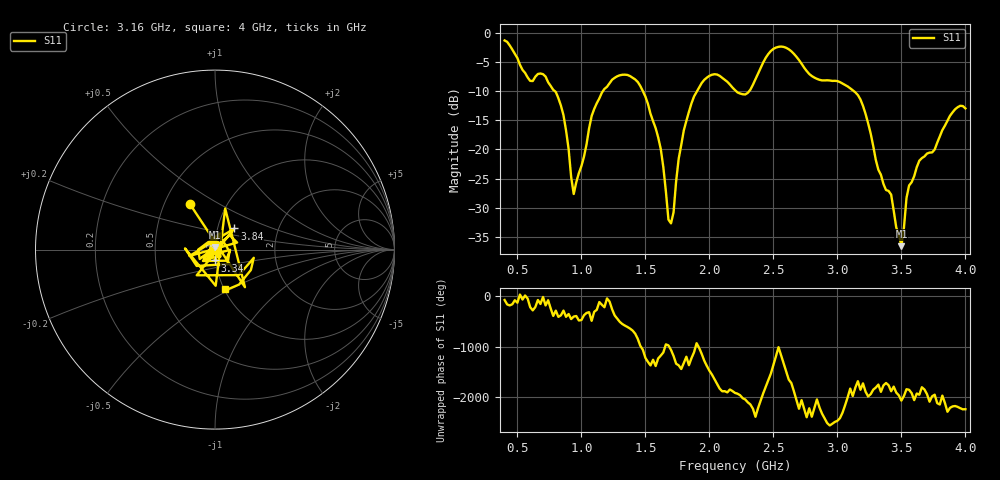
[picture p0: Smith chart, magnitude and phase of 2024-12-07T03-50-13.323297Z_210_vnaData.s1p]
!Created with skrf (http://scikit-rf.org).
# Hz S RI R 50.0
!freq ReS11 ImS11
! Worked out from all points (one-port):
!   181 points, 400 MHz to 4 GHz, reference 50 ohm
!   lowest |S11| = -36.6 dB at 3.5 GHz (marker M1), VSWR 1.03, Z = 49.8 + j1.48 ohm
!   |S11| at or under -10 dB: 790.9 MHz to 1.169 GHz (377.8 MHz wide, 38.6 % of centre); 1.48 GHz to 1.904 GHz (424.2 MHz wide, 25.1 % of centre); 3.127 GHz to end of sweep (the widest 3 of 4)
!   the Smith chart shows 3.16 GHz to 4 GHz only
!   S11 on the Smith chart (normalised r, x): 3.16 GHz: 0.67, +0.37; 3.34 GHz: 0.99, -0.12; 3.84 GHz: 1.20, +0.29; 4 GHz: 1.02, -0.46
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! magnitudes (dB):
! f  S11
! 400 MHz  -1.3
! 600 MHz  -8.3
! 720 MHz  -7.5
! 860 MHz  -14.1
! 940 MHz  -27.6
! 1.1 GHz  -13.1
! 1.3 GHz  -7.3
! 1.44 GHz  -8.4
! 1.52 GHz  -12.2
! 1.62 GHz  -19.9
! 1.68 GHz  -32.0
! 1.7 GHz  -32.7
! 1.76 GHz  -21.6
! 1.86 GHz  -12.1
! 1.96 GHz  -8.1
! 2.2 GHz  -9.8
! 2.3 GHz  -10.3
! 2.5 GHz  -2.8
! 2.66 GHz  -3.6
! 2.8 GHz  -7.4
! 3.1 GHz  -9.5
! 3.16 GHz  -10.7
! 3.34 GHz  -24.3
! 3.42 GHz  -27.7
! 3.5 GHz  -36.6
! 3.56 GHz  -26.2
! 3.84 GHz  -15.9
! 4 GHz  -13.0
